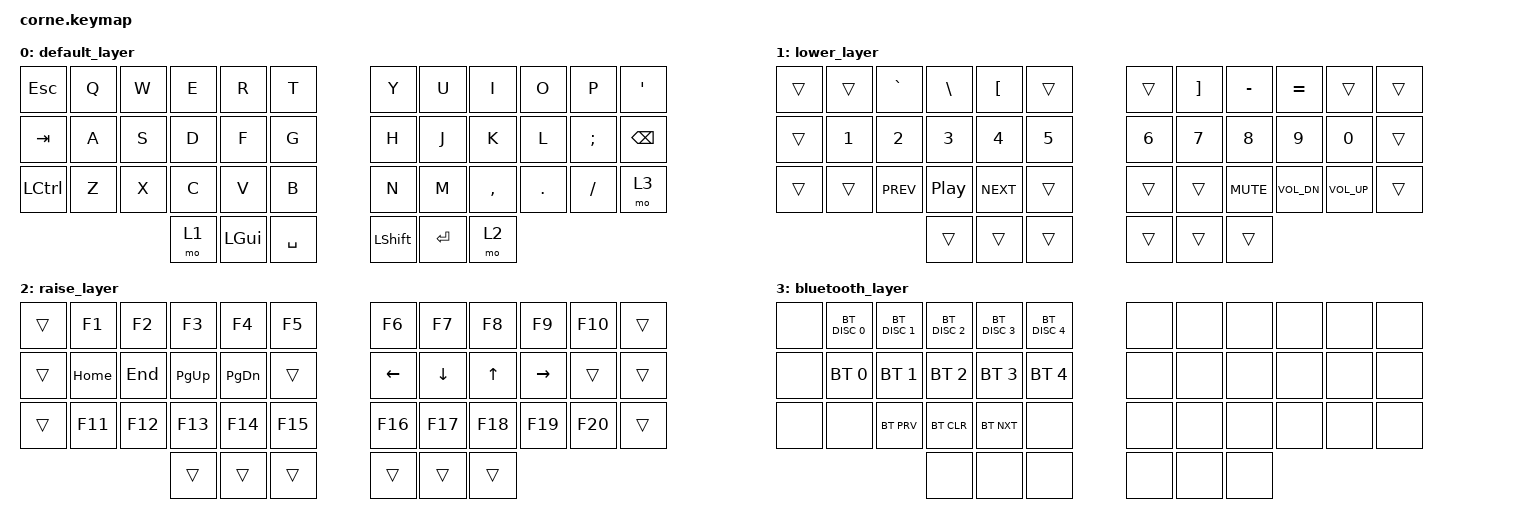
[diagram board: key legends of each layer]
#include <behaviors.dtsi>
#include <dt-bindings/zmk/bt.h>
#include <dt-bindings/zmk/keys.h>

/ {
    combos {
        compatible = "zmk,combos";

        CTRL {
            timeout-ms = <200>;
            key-positions = <36 41>;
            bindings = <&kp LCTRL>;
        };

        L_ALT {
            timeout-ms = <200>;
            key-positions = <41 37>;
            bindings = <&kp LALT>;
        };

        R_ALT {
            timeout-ms = <200>;
            key-positions = <36 40>;
            bindings = <&kp RALT>;
        };
    };

    keymap {
        compatible = "zmk,keymap";

        default_layer {
            bindings = <
&kp ESC    &kp Q  &kp W  &kp E  &kp R     &kp T        &kp Y       &kp U    &kp I      &kp O    &kp P     &kp SQT
&kp TAB    &kp A  &kp S  &kp D  &kp F     &kp G        &kp H       &kp J    &kp K      &kp L    &kp SEMI  &kp BSPC
&kp LCTRL  &kp Z  &kp X  &kp C  &kp V     &kp B        &kp N       &kp M    &kp COMMA  &kp DOT  &kp FSLH  &mo 3
                         &mo 1  &kp LGUI  &kp SPACE    &kp LSHIFT  &kp RET  &mo 2
            >;
        };

        lower_layer {
            bindings = <
&trans  &trans  &kp GRAVE   &kp BSLH  &kp LBKT    &trans    &trans  &kp RBKT  &kp MINUS   &kp EQUAL     &trans        &trans
&trans  &kp N1  &kp N2      &kp N3    &kp N4      &kp N5    &kp N6  &kp N7    &kp N8      &kp N9        &kp N0        &trans
&trans  &trans  &kp C_PREV  &kp C_PP  &kp C_NEXT  &trans    &trans  &trans    &kp C_MUTE  &kp C_VOL_DN  &kp C_VOL_UP  &trans
                            &trans    &trans      &trans    &trans  &trans    &trans
            >;
        };

        raise_layer {
            bindings = <
&trans  &kp F1    &kp F2   &kp F3     &kp F4     &kp F5     &kp F6    &kp F7    &kp F8   &kp F9     &kp F10  &trans
&trans  &kp HOME  &kp END  &kp PG_UP  &kp PG_DN  &trans     &kp LEFT  &kp DOWN  &kp UP   &kp RIGHT  &trans   &trans
&trans  &kp F11   &kp F12  &kp F13    &kp F14    &kp F15    &kp F16   &kp F17   &kp F18  &kp F19    &kp F20  &trans
                           &trans     &trans     &trans     &trans    &trans    &trans
            >;
        };

        bluetooth_layer {
            bindings = <
&none  &bt BT_DISC 0  &bt BT_DISC 1  &bt BT_DISC 2  &bt BT_DISC 3  &bt BT_DISC 4    &none  &none  &none  &none  &none  &none
&none  &bt BT_SEL 0   &bt BT_SEL 1   &bt BT_SEL 2   &bt BT_SEL 3   &bt BT_SEL 4     &none  &none  &none  &none  &none  &none
&none  &none          &bt BT_PRV     &bt BT_CLR     &bt BT_NXT     &none            &none  &none  &none  &none  &none  &none
                                     &none          &none          &none            &none  &none  &none
            >;
        };
    };
};
